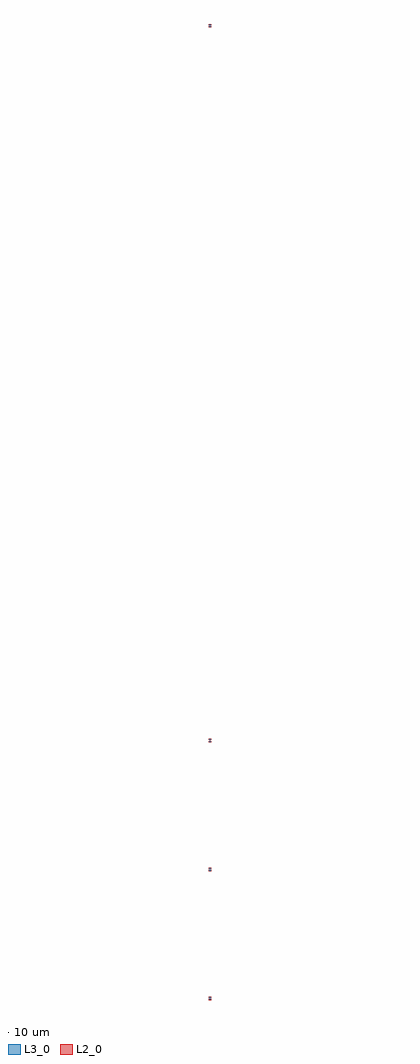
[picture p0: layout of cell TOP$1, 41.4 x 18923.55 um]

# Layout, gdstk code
import gdstk
lib = gdstk.Library(unit=1e-6, precision=1e-09)
def P(c, l, *ps):  # polygons
    for p in ps: c.add(gdstk.Polygon(p, *l))
L2_0 = (2, 0)
L3_0 = (3, 0)

q6gap = lib.new_cell('Q6GAP')
P(q6gap, L2_0, [(779.3,2253.3),(779.3,2274),(799.095,2284),(799.595,2284),(799.595,2286),(799.795,2286),(799.795,2284),(780,2274),(780,2254),(820,2254),(820,2274),(800.205,2284),(800.205,2286),(797.3,2286),(797.3,2286.15),(796.8,2286.15),(779.3,2296.15),(779.3,2316.15),(780,2316.15),(780,2296.15),(797.5,2286.15),(802.5,2286.15),(820,2296.15),(820,2316.15),(779.3,2316.15),(779.3,2316.85),(820.7,2316.85),(820.7,2296.15),(803.2,2286.15),(802.7,2286.15),(802.7,2286),(800.405,2286),(800.405,2284),(800.905,2284),(820.7,2274),(820.7,2253.3)],
  [(779.3,4753.3),(779.3,4774),(799.095,4784),(799.595,4784),(799.595,4786),(799.795,4786),(799.795,4784),(780,4774),(780,4754),(820,4754),(820,4774),(800.205,4784),(800.205,4786),(797.3,4786),(797.3,4786.15),(796.8,4786.15),(779.3,4796.15),(779.3,4816.15),(780,4816.15),(780,4796.15),(797.5,4786.15),(802.5,4786.15),(820,4796.15),(820,4816.15),(779.3,4816.15),(779.3,4816.85),(820.7,4816.85),(820.7,4796.15),(803.2,4786.15),(802.7,4786.15),(802.7,4786),(800.405,4786),(800.405,4784),(800.905,4784),(820.7,4774),(820.7,4753.3)],
  [(779.3,7253.3),(779.3,7274),(799.095,7284),(799.595,7284),(799.595,7286),(799.795,7286),(799.795,7284),(780,7274),(780,7254),(820,7254),(820,7274),(800.205,7284),(800.205,7286),(797.3,7286),(797.3,7286.15),(796.8,7286.15),(779.3,7296.15),(779.3,7316.15),(780,7316.15),(780,7296.15),(797.5,7286.15),(802.5,7286.15),(820,7296.15),(820,7316.15),(779.3,7316.15),(779.3,7316.85),(820.7,7316.85),(820.7,7296.15),(803.2,7286.15),(802.7,7286.15),(802.7,7286),(800.405,7286),(800.405,7284),(800.905,7284),(820.7,7274),(820.7,7253.3)],
  [(779.3,21113.3),(779.3,21134),(799.095,21144),(799.595,21144),(799.595,21146),(799.795,21146),(799.795,21144),(780,21134),(780,21114),(820,21114),(820,21134),(800.205,21144),(800.205,21146),(797.3,21146),(797.3,21146.15),(796.8,21146.15),(779.3,21156.15),(779.3,21176.15),(780,21176.15),(780,21156.15),(797.5,21146.15),(802.5,21146.15),(820,21156.15),(820,21176.15),(779.3,21176.15),(779.3,21176.85),(820.7,21176.85),(820.7,21156.15),(803.2,21146.15),(802.7,21146.15),(802.7,21146),(800.405,21146),(800.405,21144),(800.905,21144),(820.7,21134),(820.7,21113.3)])

q6pin = lib.new_cell('Q6PIN')
P(q6pin, L3_0, [(780,2254),(780,2274),(799.795,2284),(799.795,2286),(800.205,2286),(800.205,2284),(820,2274),(820,2254)],
  [(797.5,2286.15),(780,2296.15),(780,2316.15),(820,2316.15),(820,2296.15),(802.5,2286.15)],
  [(780,4754),(780,4774),(799.795,4784),(799.795,4786),(800.205,4786),(800.205,4784),(820,4774),(820,4754)],
  [(797.5,4786.15),(780,4796.15),(780,4816.15),(820,4816.15),(820,4796.15),(802.5,4786.15)],
  [(780,7254),(780,7274),(799.795,7284),(799.795,7286),(800.205,7286),(800.205,7284),(820,7274),(820,7254)],
  [(797.5,7286.15),(780,7296.15),(780,7316.15),(820,7316.15),(820,7296.15),(802.5,7286.15)],
  [(780,21114),(780,21134),(799.795,21144),(799.795,21146),(800.205,21146),(800.205,21144),(820,21134),(820,21114)],
  [(797.5,21146.15),(780,21156.15),(780,21176.15),(820,21176.15),(820,21156.15),(802.5,21146.15)])

c_q6 = lib.new_cell('Q6')

top_1 = lib.new_cell('TOP$1')
top_1.add(gdstk.Reference(q6gap, (0,0)))
top_1.add(gdstk.Reference(q6pin, (0,0)))
top_1.add(gdstk.Reference(c_q6, (0,0)))

lib.write_gds('TOP_1.gds')
